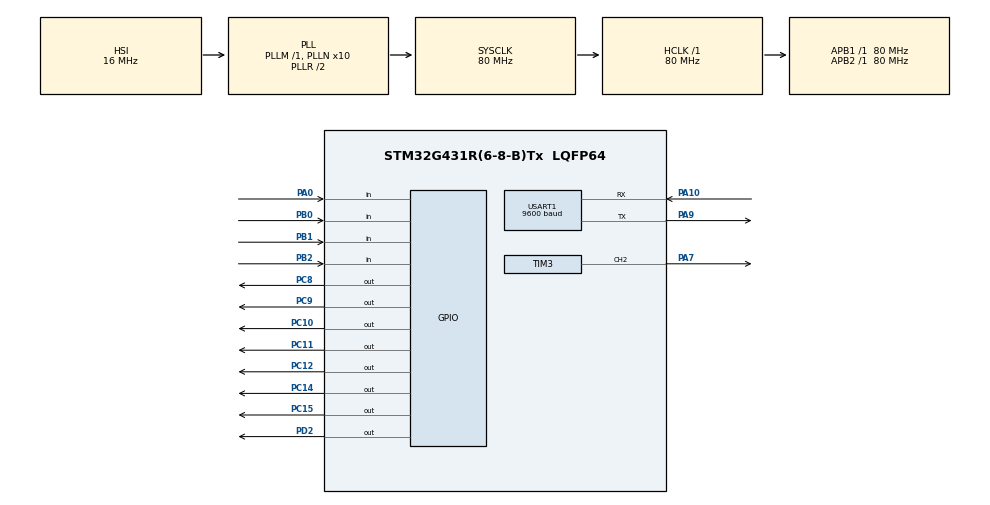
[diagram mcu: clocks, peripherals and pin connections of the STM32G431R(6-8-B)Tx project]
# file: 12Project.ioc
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Mcu.Family=STM32G4
Mcu.Name=STM32G431R(6-8-B)Tx
Mcu.Package=LQFP64
NVIC.PriorityGroup=NVIC_PRIORITYGROUP_4
NVIC.TIM3_IRQn=true\:0\:0\:false\:false\:true\:true\:true
NVIC.USART1_IRQn=true\:0\:0\:false\:false\:true\:true\:true
PA0.Signal=GPIO_Input
PA10.Mode=Asynchronous
PA10.Signal=USART1_RX
PA13.Mode=Serial_Wire
PA13.Signal=SYS_JTMS-SWDIO
PA14.Mode=Serial_Wire
PA14.Signal=SYS_JTCK-SWCLK
PA7.Signal=S_TIM3_CH2
PA9.Mode=Asynchronous
PA9.Signal=USART1_TX
PB0.Signal=GPIO_Input
PB1.Signal=GPIO_Input
PB2.Signal=GPIO_Input
PC10.Signal=GPIO_Output
PC11.Signal=GPIO_Output
PC12.Signal=GPIO_Output
PC14-OSC32_IN.Signal=GPIO_Output
PC15-OSC32_OUT.Signal=GPIO_Output
PC8.Signal=GPIO_Output
PC9.Signal=GPIO_Output
PD2.Signal=GPIO_Output
PF0-OSC_IN.Mode=HSE-External-Oscillator
PF0-OSC_IN.Signal=RCC_OSC_IN
PF1-OSC_OUT.Mode=HSE-External-Oscillator
PF1-OSC_OUT.Signal=RCC_OSC_OUT
ProjectManager.HeapSize=0x200
ProjectManager.StackSize=0x400
ProjectManager.TargetToolchain=MDK-ARM V5
RCC.ADC12Freq_Value=80000000
RCC.AHBFreq_Value=80000000
RCC.APB1Freq_Value=80000000
RCC.APB1TimFreq_Value=80000000
RCC.APB2Freq_Value=80000000
RCC.APB2TimFreq_Value=80000000
RCC.CortexFreq_Value=80000000
RCC.EXTERNAL_CLOCK_VALUE=12288000
RCC.HCLKFreq_Value=80000000
RCC.HSE_VALUE=24000000
RCC.HSI48_VALUE=48000000
RCC.HSI_VALUE=16000000
RCC.PLLN=10
RCC.SYSCLKFreq_VALUE=80000000
RCC.SYSCLKSource=RCC_SYSCLKSOURCE_PLLCLK
RCC.USBFreq_Value=80000000
RCC.VCOOutputFreq_Value=160000000
SH.S_TIM3_CH2.0=TIM3_CH2,PWM Generation2 CH2
TIM3.AutoReloadPreload=TIM_AUTORELOAD_PRELOAD_ENABLE
TIM3.Channel-PWM\ Generation2\ CH2=TIM_CHANNEL_2
TIM3.PeriodNoDither=99
TIM3.Prescaler=399
USART1.BaudRate=9600
USART1.VirtualMode-Asynchronous=VM_ASYNC
VP_SYS_VS_DBSignals.Mode=DisableDeadBatterySignals
VP_TIM3_VS_ClockSourceINT.Mode=Internal
board=custom

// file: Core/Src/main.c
/* USER CODE BEGIN Header */
/**
  ******************************************************************************
  * @file           : main.c
  * @brief          : Main program body
  ******************************************************************************
  * @attention
  *
  * <h2><center>&copy; Copyright (c) 2023 STMicroelectronics.
  * All rights reserved.</center></h2>
  *
  * This software component is licensed by ST under BSD 3-Clause license,
  * the "License"; You may not use this file except in compliance with the
  * License. You may obtain a copy of the License at:
  *                        opensource.org/licenses/BSD-3-Clause
  *
  ******************************************************************************
  */
/* USER CODE END Header */
#include "main.h"
#include "tim.h"
#include "usart.h"
#include "gpio.h"

/* USER CODE BEGIN Includes */
#include "lcd.h"
#include "i2c_hal.h"
#include "stdio.h"
#include "string.h"
/* USER CODE END Includes */

/* USER CODE BEGIN PD */
#define KEY1 HAL_GPIO_ReadPin(GPIOB,GPIO_PIN_0)
#define KEY2 HAL_GPIO_ReadPin(GPIOB,GPIO_PIN_1)
#define KEY3 HAL_GPIO_ReadPin(GPIOB,GPIO_PIN_2)
#define KEY4 HAL_GPIO_ReadPin(GPIOA,GPIO_PIN_0)
/* USER CODE END PD */

/* USER CODE BEGIN PV */

u8 key_val,key_down,key_up,key_old;

static __IO uint32_t Key_Tick,DKey_Tick;
//lcd
u8 sta_lcd;
u8 ptr[30];

u8 pwm_stat;
unsigned char rx,rx_buf[30],dex;

u8 tc[128];
u8 tcs = 0;

//led
u8 led_in;
u8 e2prom[5];//EEPROM存储数组

typedef struct
{
	u8 num;
	u8 price;
}CLData;

CLData vnbr = {0, 20}, cnbr = {0, 35};

typedef struct
{
	unsigned char id[5];
	unsigned char type[5];
	unsigned char year;
	unsigned char month;
	unsigned char day;
	unsigned char hour;
	unsigned char min;
	unsigned char sec;
	unsigned char isempty;
}Database;
Database Car_data[8];

/* USER CODE END PV */

void SystemClock_Config(void);

/* USER CODE BEGIN 0 */
u8 key_scan()
{
	if((KEY1 == 0)||(KEY2 == 0)||(KEY3 == 0)||(KEY4 == 0))
	{
		HAL_Delay(10);
		if(KEY1 == 0) return 1;
		else if(KEY2 == 0) return 2;
		else if(KEY3 == 0) return 3;
		else if(KEY4 == 0) return 4;
	}return 0;
}

void led_dis(u8 led)
{
	HAL_GPIO_WritePin(GPIOC,0xff00,GPIO_PIN_SET);
	HAL_GPIO_WritePin(GPIOD,GPIO_PIN_2,GPIO_PIN_SET);
	HAL_GPIO_WritePin(GPIOD,GPIO_PIN_2,GPIO_PIN_RESET);

	HAL_GPIO_WritePin(GPIOC,led<<8,GPIO_PIN_RESET);
	HAL_GPIO_WritePin(GPIOD,GPIO_PIN_2,GPIO_PIN_SET);
	HAL_GPIO_WritePin(GPIOD,GPIO_PIN_2,GPIO_PIN_RESET);
}

void key_Proc()
{

	key_val = key_scan();
	key_down = key_val&(key_val^key_old);
	key_up = ~key_val&(key_val^key_old);
	key_old = key_val;

	switch (key_up)
	{
		case 1:
		{
			sta_lcd = !sta_lcd;
			LCD_Clear(Black);
			break;
		}
		case 2:
		{
			if(sta_lcd)
			{
				cnbr.price += 5;
				vnbr.price += 5;
			}
			break;
		}
		case 3:
		{
			if(sta_lcd)
			{
				if(vnbr.price - 5 >= 5)
				{
					cnbr.price -= 5;
					vnbr.price -= 5;
				}
			}
			break;
		}
		case 4:
		{
			pwm_stat = ~pwm_stat;
			if(pwm_stat)
				__HAL_TIM_SET_COMPARE(&htim3,TIM_CHANNEL_2, 20);
			else
				__HAL_TIM_SET_COMPARE(&htim3,TIM_CHANNEL_2, 0);
			break;
		}
	}
}

void lcd_Proc()
{
	if(!sta_lcd)
	{
		sprintf((char*)ptr,"       Data");
		LCD_DisplayStringLine(Line1,(u8*)ptr);
		sprintf((char*)ptr,"   CNBR:%d", cnbr.num);
		LCD_DisplayStringLine(Line3,(u8*)ptr);
		sprintf((char*)ptr,"   VNBR:%d", vnbr.num);
		LCD_DisplayStringLine(Line5,(u8*)ptr);
		sprintf((char*)ptr,"   IDLE:%d", 8 - cnbr.num - vnbr.num);
		LCD_DisplayStringLine(Line7,(u8*)ptr);

	}else{
		sprintf((char*)ptr,"       Para");
		LCD_DisplayStringLine(Line1,(u8*)ptr);
		sprintf((char*)ptr,"   CNBR:%4.2f", cnbr.price * 0.1f);
		LCD_DisplayStringLine(Line3,(u8*)ptr);
		sprintf((char*)ptr,"   VNBR:%4.2f", vnbr.price * 0.1f);
		LCD_DisplayStringLine(Line5,(u8*)ptr);
	}
}

void led_Proc()
{

	if((8 - cnbr.num - vnbr.num) > 0)
	{
		led_in |= 0x01;
	}else
	{
		led_in &= ~(0x01);
	}

	if(pwm_stat)
	{
		led_in |= 0x02;
	}else
	{
		led_in &= ~(0x02);
	}

	led_dis(led_in);
}

unsigned char tx2[21];
unsigned char isRxCplt()
{
	if(dex!=22)
		return 0;

	if(((rx_buf[0]=='C')||(rx_buf[0]=='V'))&&(rx_buf[1]=='N')&&(rx_buf[2]=='B')&&(rx_buf[3]=='R')&&(rx_buf[4]==':')&&(rx_buf[9]==':'))//确保车辆类型和标点符号无误
	{
		unsigned char i;
		for(i=10;i<22;i++)
		{
			if((rx_buf[i]>'9')&&(rx_buf[i]<'0'))
				return 0;
		}
		return 1;
	}
	else
	{
		return 0;
	}

}

unsigned char tx[30];

void send_error()
{
	sprintf((char*)tx,"Error\r\n");
	HAL_UART_Transmit(&huart1,tx,sizeof(tx),50);
}

unsigned char isExis(unsigned char* str)
{
	unsigned char i;

	for(i=0;i<8;i++)
	{
		if(strcmp((char*)str,(char*)Car_data[i].id)==0)
			return i;
	}
	return 0xFF;
}

void Str_Tran(unsigned char* d_str,unsigned char* str,unsigned char	num,unsigned char lenth)
{
	unsigned char i;
	for(i=0;i<lenth;i++)
		d_str[i]=str[num+i];
	d_str[lenth]='\0';
}

unsigned char isEmpty()
{
	unsigned char i;

	for(i=0;i<8;i++)
	{
		if(Car_data[i].isempty==0)
			return i;
	}
	return 0xFF;
}

void Uart_Proc()
{

	static __IO uint32_t Uart_Tick;

	if(uwTick-Uart_Tick<50)
		return;
	Uart_Tick=uwTick;

	if(isRxCplt())
	{
		unsigned char car_id[5],car_type[5],year,month,day,hour,min,sec;

		year=(rx_buf[10]-'0')*10+(rx_buf[11]-'0');
		month=(rx_buf[12]-'0')*10+(rx_buf[13]-'0');
		day=(rx_buf[14]-'0')*10+(rx_buf[15]-'0');
		hour=(rx_buf[16]-'0')*10+(rx_buf[17]-'0');
		min=(rx_buf[18]-'0')*10+(rx_buf[19]-'0');
		sec=(rx_buf[20]-'0')*10+(rx_buf[21]-'0');

		if((month>12)||(day>31)||(hour>23)||(min>59)||(sec>59))
		{
			send_error();
			return;
		}

		Str_Tran(car_id,rx_buf,5,4);
		Str_Tran(car_type,rx_buf,0,4);

		if(isExis(car_id)==0xFF)
		{
			unsigned char in_locate=isEmpty();
			if(in_locate==0xFF)
			{
				send_error();
				return;
			}

			Str_Tran(Car_data[in_locate].type,car_type,0,4);
			Str_Tran(Car_data[in_locate].id,car_id,0,4);

			Car_data[in_locate].year=year;
			Car_data[in_locate].month=month;
			Car_data[in_locate].day=day;
			Car_data[in_locate].hour=hour;
			Car_data[in_locate].min=min;
			Car_data[in_locate].sec=sec;
			Car_data[in_locate].isempty=1;

			if(Car_data[in_locate].type[0]=='C')
				cnbr.num++;
			else if(Car_data[in_locate].type[0]=='V')
				vnbr.num++;
		}else
		{
			unsigned char out_locate=isExis(car_id);
			signed int time;

			if(strcmp((char*)car_type,(char*)Car_data[out_locate].type)!=0)
			{
				send_error();
				return;
			}

			time=(year-Car_data[out_locate].year)*365*24*60*60+(month-Car_data[out_locate].month)*31*24*60*60+(day-Car_data[out_locate].day)*24*60*60
			+(hour-Car_data[out_locate].hour)*60*60+(min-Car_data[out_locate].min)*60+(sec-Car_data[out_locate].sec);

			if(time<0)
			{
				send_error();
				return;
			}

			time=(time+3599)/3600;

			sprintf((char*)tx,"%s:%s:%d:%.2f\r\n",Car_data[out_locate].type,Car_data[out_locate].id,time,(Car_data[out_locate].type[0]=='C'?time*cnbr.price * 1.0f : time*vnbr.price * 1.0f));//计算停车费用，也可以用if语句来写
			HAL_UART_Transmit(&huart1,tx,sizeof(tx),50);

			if(Car_data[out_locate].type[0]=='C')
				cnbr.num--;
			else if(Car_data[out_locate].type[0]=='V')
				vnbr.num--;

			memset(&Car_data[out_locate],0,sizeof(Car_data[out_locate]));
		}
	}

	memset(&rx_buf,0,sizeof(rx_buf));
	dex=0;
}

void HAL_UART_RxCpltCallback(UART_HandleTypeDef *huart)
{

	rx_buf[dex++]=rx;

	HAL_UART_Receive_IT(&huart1, &rx,1);
}

/* USER CODE END 0 */

int main(void)
{

  /* MCU Configuration--------------------------------------------------------*/

  /* Reset of all peripherals, Initializes the Flash interface and the Systick. */
  HAL_Init();

  /* Configure the system clock */
  SystemClock_Config();

  /* Initialize all configured peripherals */
  MX_GPIO_Init();
  MX_TIM3_Init();
  MX_USART1_UART_Init();
  /* USER CODE BEGIN 2 */

	LCD_Init();
	LCD_SetBackColor(Black);
	LCD_SetTextColor(White);
	LCD_Clear(Black);
	led_dis(0);
	HAL_UART_Receive_IT(&huart1,&rx,1);
	HAL_TIM_PWM_Start(&htim3, TIM_CHANNEL_2);
  /* USER CODE END 2 */

  /* Infinite loop */
  while (1)
  {

    /* USER CODE BEGIN 3 */

		key_Proc();
		lcd_Proc();
		led_Proc();
		Uart_Proc();
  }
  /* USER CODE END 3 */
}

void SystemClock_Config(void)
{
  RCC_OscInitTypeDef RCC_OscInitStruct = {0};
  RCC_ClkInitTypeDef RCC_ClkInitStruct = {0};
  RCC_PeriphCLKInitTypeDef PeriphClkInit = {0};

  /** Configure the main internal regulator output voltage
  */
  HAL_PWREx_ControlVoltageScaling(PWR_REGULATOR_VOLTAGE_SCALE1);
  /** Initializes the RCC Oscillators according to the specified parameters
  * in the RCC_OscInitTypeDef structure.
  */
  RCC_OscInitStruct.OscillatorType = RCC_OSCILLATORTYPE_HSI;
  RCC_OscInitStruct.HSIState = RCC_HSI_ON;
  RCC_OscInitStruct.HSICalibrationValue = RCC_HSICALIBRATION_DEFAULT;
  RCC_OscInitStruct.PLL.PLLState = RCC_PLL_ON;
  RCC_OscInitStruct.PLL.PLLSource = RCC_PLLSOURCE_HSI;
  RCC_OscInitStruct.PLL.PLLM = RCC_PLLM_DIV1;
  RCC_OscInitStruct.PLL.PLLN = 10;
  RCC_OscInitStruct.PLL.PLLP = RCC_PLLP_DIV2;
  RCC_OscInitStruct.PLL.PLLQ = RCC_PLLQ_DIV2;
  RCC_OscInitStruct.PLL.PLLR = RCC_PLLR_DIV2;
  if (HAL_RCC_OscConfig(&RCC_OscInitStruct) != HAL_OK)
  {
    Error_Handler();
  }
  /** Initializes the CPU, AHB and APB buses clocks
  */
  RCC_ClkInitStruct.ClockType = RCC_CLOCKTYPE_HCLK|RCC_CLOCKTYPE_SYSCLK
                              |RCC_CLOCKTYPE_PCLK1|RCC_CLOCKTYPE_PCLK2;
  RCC_ClkInitStruct.SYSCLKSource = RCC_SYSCLKSOURCE_PLLCLK;
  RCC_ClkInitStruct.AHBCLKDivider = RCC_SYSCLK_DIV1;
  RCC_ClkInitStruct.APB1CLKDivider = RCC_HCLK_DIV1;
  RCC_ClkInitStruct.APB2CLKDivider = RCC_HCLK_DIV1;

  if (HAL_RCC_ClockConfig(&RCC_ClkInitStruct, FLASH_LATENCY_2) != HAL_OK)
  {
    Error_Handler();
  }
  /** Initializes the peripherals clocks
  */
  PeriphClkInit.PeriphClockSelection = RCC_PERIPHCLK_USART1;
  PeriphClkInit.Usart1ClockSelection = RCC_USART1CLKSOURCE_PCLK2;
  if (HAL_RCCEx_PeriphCLKConfig(&PeriphClkInit) != HAL_OK)
  {
    Error_Handler();
  }
}

void Error_Handler(void)
{
  __disable_irq();
  while (1)
  {
  }
}

/************************ (C) COPYRIGHT STMicroelectronics *****END OF FILE****/
